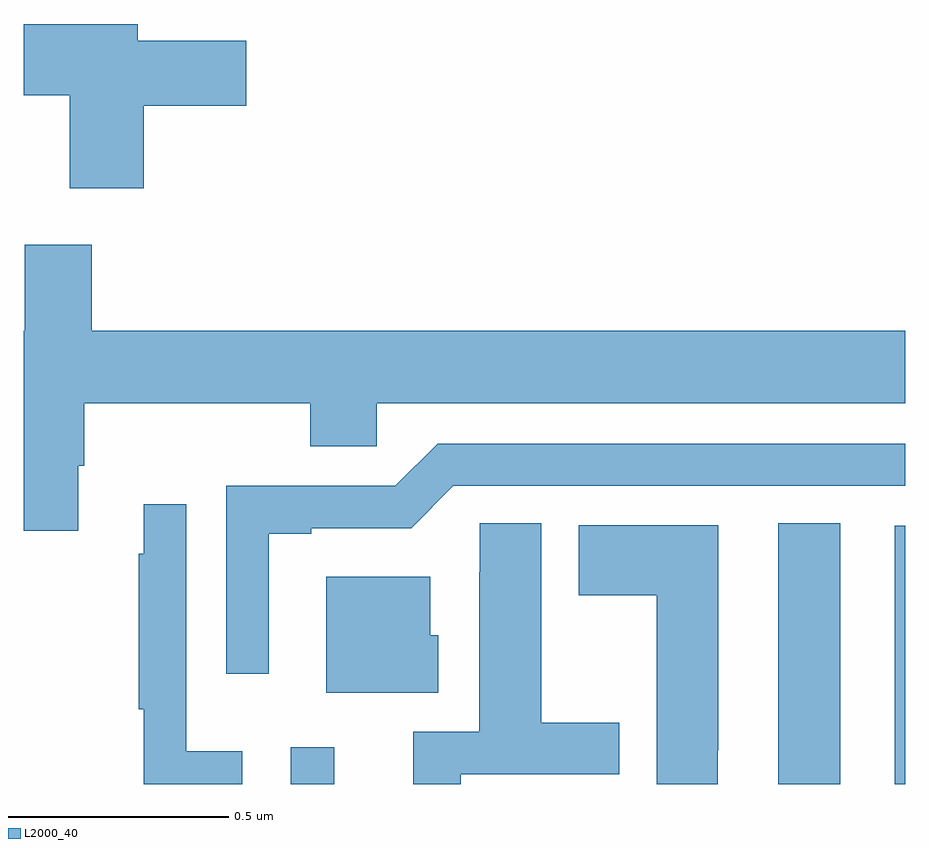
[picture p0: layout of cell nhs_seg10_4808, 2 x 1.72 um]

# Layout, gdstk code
import gdstk
lib = gdstk.Library(unit=1e-6, precision=1e-09)
def R(c, l, rs):  # rectangles x0, y0, x1, y1
    for r in rs: c.add(gdstk.rectangle(r[:2], r[2:], *l))
def P(c, l, *ps):  # polygons
    for p in ps: c.add(gdstk.Polygon(p, *l))
L2000_40 = (2000, 40)

nhs_seg10_4808 = lib.new_cell('nhs_seg10_4808')
R(nhs_seg10_4808, L2000_40, [(171.606,1251.5,171.704,1251.583), (172.712,1251.5,172.852,1252.091), (172.976,1251.5,173,1252.086)])
P(nhs_seg10_4808, L2000_40, [(171.272,1253.039),(171.505,1253.039),(171.505,1253.186),(171.259,1253.186),(171.259,1253.224),(171,1253.224),(171,1253.062),(171.104,1253.062),(171.104,1252.851),(171.272,1252.851)],
  [(171.124,1252.222),(171.137,1252.222),(171.137,1252.364),(171.65,1252.364),(171.65,1252.266),(171.801,1252.266),(171.801,1252.364),(173,1252.364),(173,1252.528),(171.155,1252.528),(171.155,1252.723),(171.002,1252.723),(171.002,1252.528),(171,1252.528),(171,1252.074),(171.124,1252.074)],
  [(171.556,1252.068),(171.652,1252.068),(171.652,1252.08),(171.879,1252.08),(171.975,1252.176),(173,1252.176),(173,1252.272),(171.939,1252.272),(171.843,1252.176),(171.459,1252.176),(171.459,1251.75),(171.556,1251.75)],
  [(171.496,1251.574),(171.369,1251.574),(171.369,1252.135),(171.272,1252.135),(171.272,1252.022),(171.261,1252.022),(171.261,1251.67),(171.272,1251.67),(171.272,1251.5),(171.496,1251.5)],
  [(171.992,1251.522),(172.351,1251.522),(172.351,1251.639),(172.174,1251.639),(172.174,1252.091),(172.035,1252.091),(172.035,1251.98),(172.034,1251.98),(172.034,1251.618),(171.884,1251.618),(171.884,1251.5),(171.992,1251.5)],
  [(172.575,1251.577),(172.576,1251.577),(172.576,1252.087),(172.259,1252.087),(172.259,1251.928),(172.436,1251.928),(172.436,1251.5),(172.575,1251.5)],
  [(171.94,1251.837),(171.922,1251.837),(171.922,1251.97),(171.686,1251.97),(171.686,1251.707),(171.94,1251.707)])

lib.write_gds('nhs_seg10_4808.gds')
